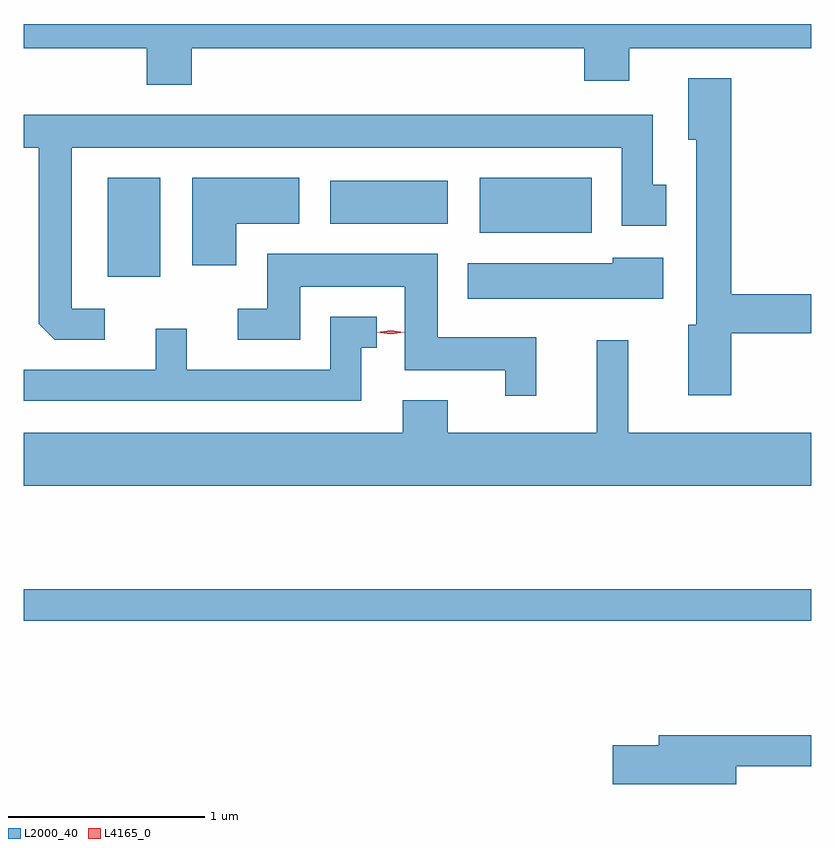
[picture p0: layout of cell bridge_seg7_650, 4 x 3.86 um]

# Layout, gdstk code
import gdstk
lib = gdstk.Library(unit=1e-6, precision=1e-09)
def R(c, l, rs):  # rectangles x0, y0, x1, y1
    for r in rs: c.add(gdstk.rectangle(r[:2], r[2:], *l))
def P(c, l, *ps):  # polygons
    for p in ps: c.add(gdstk.Polygon(p, *l))
L2000_40 = (2000, 40)
L4165_0 = (4165, 0)

bridge_seg7_650 = lib.new_cell('bridge_seg7_650')
R(bridge_seg7_650, L2000_40, [(924.525,1735.831,928.525,1735.989), (924.951,1737.576,925.219,1738.079), (926.841,1737.801,927.409,1738.079), (926.081,1737.846,926.679,1738.064)])
P(bridge_seg7_650, L2000_40, [(925.379,1738.736),(927.371,1738.736),(927.371,1738.571),(927.599,1738.571),(927.599,1738.736),(928.525,1738.736),(928.525,1738.86),(924.525,1738.86),(924.525,1738.736),(925.151,1738.736),(925.151,1738.551),(925.379,1738.551)],
  [(928.119,1737.291),(928.525,1737.291),(928.525,1737.489),(928.119,1737.489),(928.119,1738.584),(927.901,1738.584),(927.901,1738.271),(927.941,1738.271),(927.941,1737.334),(927.901,1737.334),(927.901,1736.976),(928.119,1736.976)],
  [(924.938,1737.414),(924.769,1737.414),(924.769,1738.231),(927.561,1738.231),(927.561,1737.836),(927.789,1737.836),(927.789,1738.044),(927.719,1738.044),(927.719,1738.399),(924.525,1738.399),(924.525,1738.231),(924.601,1738.231),(924.601,1737.337),(924.682,1737.256),(924.938,1737.256)],
  [(925.604,1737.846),(925.924,1737.846),(925.924,1738.079),(925.381,1738.079),(925.381,1737.636),(925.604,1737.636)],
  [(927.129,1737.269),(926.629,1737.269),(926.629,1737.694),(925.761,1737.694),(925.761,1737.414),(925.613,1737.414),(925.613,1737.256),(925.929,1737.256),(925.929,1737.526),(926.461,1737.526),(926.461,1737.101),(926.971,1737.101),(926.971,1736.973),(927.129,1736.973)],
  [(927.774,1737.674),(927.516,1737.674),(927.516,1737.644),(926.781,1737.644),(926.781,1737.466),(927.774,1737.466)],
  [(926.239,1737.216),(926.318,1737.216),(926.318,1737.374),(926.081,1737.374),(926.081,1737.104),(925.354,1737.104),(925.354,1737.313),(925.196,1737.313),(925.196,1737.104),(924.525,1737.104),(924.525,1736.946),(926.239,1736.946)],
  [(928.525,1736.784),(927.594,1736.784),(927.594,1737.253),(927.436,1737.253),(927.436,1736.784),(926.679,1736.784),(926.679,1736.949),(926.451,1736.949),(926.451,1736.784),(924.525,1736.784),(924.525,1736.516),(928.525,1736.516)],
  [(928.144,1735.091),(928.525,1735.091),(928.525,1735.249),(927.751,1735.249),(927.751,1735.199),(927.516,1735.199),(927.516,1735.001),(928.144,1735.001)])
P(bridge_seg7_650, L4165_0, [(926.388,1737.285),(926.319,1737.294),(926.319,1737.295),(926.319,1737.295),(926.388,1737.305),(926.458,1737.296),(926.458,1737.296),(926.458,1737.295)])

lib.write_gds('bridge_seg7_650.gds')
